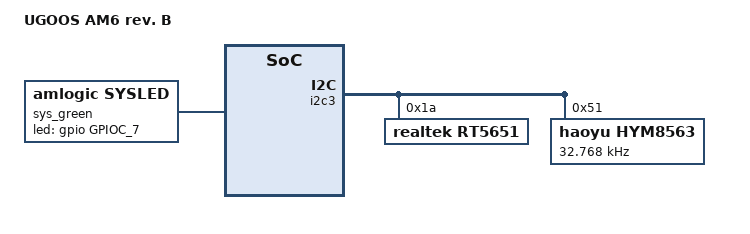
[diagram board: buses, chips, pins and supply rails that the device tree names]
#include "coreelec_g12b.dtsi"

/{
	model = "UGOOS AM6 rev. B";
	coreelec-dt-id = "g12b_s922x_ugoos_am6";

	/delete-node/ memory@00000000;

	sys_green {
		compatible = "amlogic, sysled";
		dev_name = "sysled";
		label = "sys_green";
		status = "okay";
		led_gpio = <&gpio GPIOC_7 GPIO_ACTIVE_HIGH>;
		led_active_low = <0>;
		led_gpio_workaround;    /* GPIOC_7 cant control output */
	};

	wifi{
		power_on_pin = <&gpio_ao GPIOAO_10 GPIO_ACTIVE_HIGH>;
	};

	gpio_keypad {
		key-gpios = <&gpio_ao  GPIOAO_6  GPIO_ACTIVE_HIGH>;
	};
};

&usb2_phy_v2 {
	gpio-vbus-power = "GPIOA_8";
	gpios = <&gpio GPIOA_8 GPIO_ACTIVE_HIGH>;
};

&usb3_phy_v2 {
	otg = <1>;
	default-host; // or default-otg, or nothing for auto
	gpio-vbus-power = "GPIOAO_7";
	gpios = <&gpio_ao GPIOAO_7 GPIO_ACTIVE_HIGH>;
};

&i2c3 {
	rt5651: rt5651@1a {
		compatible = "realtek,rt5651";
		#sound-dai-cells = <0>;
		reg = <0x1a>;
		status = "okay";
		realtek,dmic-en = "false";
		realtek,in2-differential = "false";
	};

	hym8563: hym8563@51 {
		compatible = "haoyu,hym8563";
		reg = <0x51>;
		#clock-cells = <0>;
		clock-frequency = <32768>;
		clock-output-names = "xin32k";
	};
};

&audiobus {
	aml_tdmc: tdmc {
		pinctrl-0 = </*&tdmc_mclk &tdmout_c &tdmin_c*/>;
	};

	tdm@3 {
		status = "disabled";
	};
}; /* end of audiobus */

&pinctrl_aobus {
	/delete-node/ spdifout;
	/delete-node/ spdifout_a_mute;
};

&pinctrl_periphs {
	/delete-node/ tdmc_mclk;
	/delete-node/ tdmout_c;
	/delete-node/ tdmin_c;

	spdifout: spdifout {
		mux { /* GPIOA_11 */
			groups = "spdif_out_a11";
			function = "spdif_out";
		};
	};

	spdifout_a_mute: spdifout_a_mute {
		mux { /* GPIOA_11 */
			groups = "GPIOA_11";
			function = "gpio_periphs";
		};
	};
}; /* end of pinctrl_periphs */
